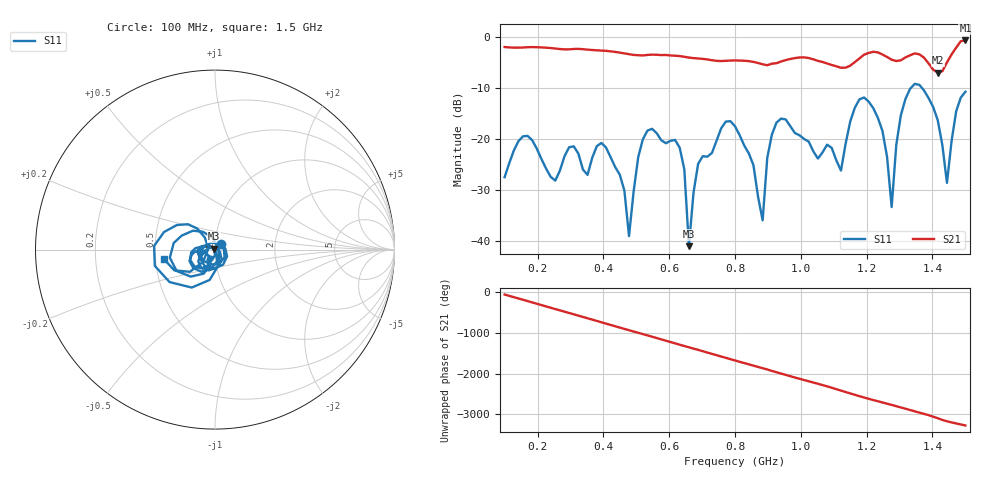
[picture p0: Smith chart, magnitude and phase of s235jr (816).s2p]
! NanoVNA-App
! Date: 2025-09-25 15:10:31
! Start: 100MHz Stop: 1,5GHz Points: 101
! S-Parameter data: F S11 S21 S12 S22
# Hz S RI R 50
!  Frequency  S11_Real  S11_Imag  S21_Real  S21_Imag  S12_Real  S12_Imag  S22_Real  S22_Imag
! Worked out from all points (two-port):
!   101 points, 100 MHz to 1.5 GHz, reference 50 ohm
!   highest |S21| = -0.68 dB at 1.5 GHz (marker M1); lowest = -7.0 dB at 1.416 GHz (marker M2)
!   |S21| within 3 dB of the highest: start of sweep to 620.1 MHz; 1.188 GHz to 1.255 GHz (66.93 MHz wide, 5.48 % of centre) (the widest 2 of 4)
!   lowest |S11| = -41.0 dB at 660 MHz (marker M3), VSWR 1.02, Z = 49.3 + j0.525 ohm
!   |S11| at or under -10 dB: start of sweep to 1.334 GHz; 1.368 GHz to end of sweep
!   S12 and S22 are empty: the file has one direction only
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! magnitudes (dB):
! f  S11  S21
! 100 MHz  -27.5  -2.0
! 156 MHz  -19.5  -2.1
! 338 MHz  -26.0  -2.4
! 408 MHz  -21.6  -2.7
! 478 MHz  -39.0  -3.4
! 520 MHz  -20.0  -3.6
! 576 MHz  -20.2  -3.5
! 632 MHz  -21.7  -3.7
! 660 MHz  -41.0  -4.0
! 688 MHz  -24.8  -4.2
! 800 MHz  -17.5  -4.6
! 884 MHz  -35.9  -5.3
! 926 MHz  -16.8  -5.1
! 1.038 GHz  -22.4  -4.4
! 1.122 GHz  -26.2  -6.0
! 1.192 GHz  -11.9  -3.5
! 1.248 GHz  -18.4  -3.4
! 1.276 GHz  -33.3  -4.5
! 1.332 GHz  -10.1  -3.6
! 1.416 GHz  -16.3  -7.0
! 1.444 GHz  -28.6  -5.0
! 1.5 GHz  -10.7  -0.7
